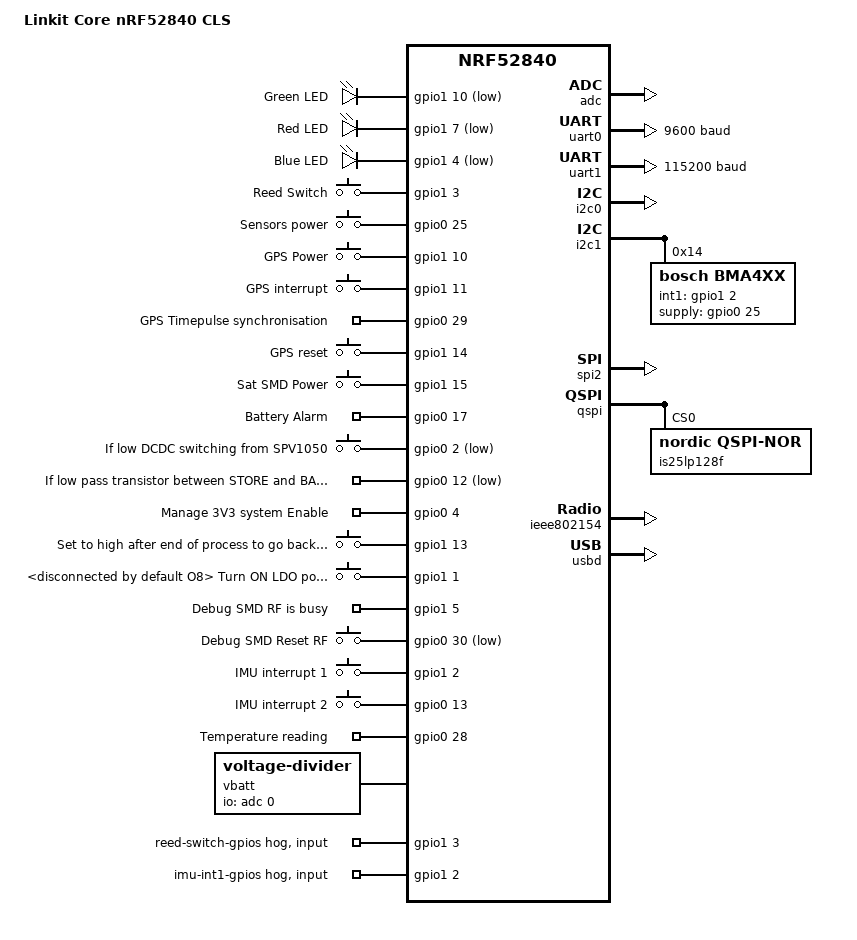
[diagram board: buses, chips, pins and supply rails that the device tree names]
/*
 * Copyright (c) 2020 Tobias Svehagen
 *
 * SPDX-License-Identifier: Apache-2.0
 */

/dts-v1/;
#include <nordic/nrf52840_qiaa.dtsi>
#include "rspb_smd_nrf52840-pinctrl.dtsi"
#include <zephyr/dt-bindings/input/input-event-codes.h>
/ {
    model = "Linkit Core nRF52840 CLS";
    compatible = "arribada,linkit-core-nrf52840";

    chosen {
        zephyr,console = &uart1;
        zephyr,shell-uart = &uart1;
        //zephyr,uart-mcumgr = &uart1;
        //zephyr,bt-mon-uart = &uart1;
        //zephyr,bt-c2h-uart = &uart1;
        zephyr,sram = &sram0;
        zephyr,flash = &flash0;
        zephyr,code-partition = &slot0_partition;
        zephyr,ieee802154 = &ieee802154;
    };

    leds {
        compatible = "gpio-leds";
        led0: led_0 {
            gpios = <&gpio1 10 GPIO_ACTIVE_LOW>;
            label = "Green LED";
        };
        led1: led_1 {
            gpios = <&gpio1 7 GPIO_ACTIVE_LOW>;
            label = "Red LED";
        };
        led2: led_2 {
            gpios = <&gpio1 4 GPIO_ACTIVE_LOW>;
            label = "Blue LED";
        };
    };
    
    gpio_keys {
        compatible = "gpio-keys";
        reed_switch: reed_switch {
            gpios = <&gpio1 3 (GPIO_ACTIVE_HIGH)>;
            label = "Reed Switch";
        };
        sensors_pwr: sensors_pwr {
            gpios = <&gpio0 25 (GPIO_ACTIVE_HIGH)>;
            label = "Sensors power";
        };
        gps_pwr: gps_pwr {
            gpios = <&gpio1 10 (GPIO_ACTIVE_HIGH)>;
            label = "GPS Power";
        };
        gps_int: gps_int {
            gpios = <&gpio1 11 (GPIO_ACTIVE_HIGH)>;
            label = "GPS interrupt";
        };
        gps_timepulse: gps_timepulse {
            gpios = <&gpio0 29 (GPIO_ACTIVE_HIGH)>;
            label = "GPS Timepulse synchronisation";
        };
        gps_rst: gps_rst {
            gpios = <&gpio1 14 (GPIO_ACTIVE_HIGH)>;
            label = "GPS reset";
        };
        smd_pwr: smd_pwr {
            gpios = <&gpio1 15 (GPIO_ACTIVE_HIGH)>;
            label = "Sat SMD Power";
        };
        bat_alarm: bat_alarm {
            gpios = <&gpio0 17 (GPIO_ACTIVE_HIGH)>;
            label = "Battery Alarm";
        };
        bat_chg: bat_chg {
            gpios = <&gpio0 2 (GPIO_ACTIVE_LOW)>;
            label = "If low DCDC switching from SPV1050";
        };
        bat_ok: bat_ok {
            gpios = <&gpio0 12 (GPIO_ACTIVE_LOW)>;
            label = "If low pass transistor between STORE and BATT pins is closed";
        };
        main_pwr: main_pwr {
            gpios = <&gpio0 4 (GPIO_ACTIVE_HIGH)>;
            label = "Manage 3V3 system Enable";
        };
        mcu_done: mcu_done {
            gpios = <&gpio1 13 (GPIO_ACTIVE_HIGH)>;
            label = "Set to high after end of process to go back to sleep";
        };
        vpa_en: vpa_en {
            gpios = <&gpio1 1 (GPIO_ACTIVE_HIGH)>;
            label = "<disconnected by default O8> Turn ON LDO power amplifier";
        };
        smd_rf_busy: smd_rf_busy {
            gpios = <&gpio1 5 (GPIO_ACTIVE_HIGH)>;
            label = "Debug SMD RF is busy";
        };
        smd_rf_nrst: smd_rf_nrst {
            gpios = <&gpio0 30 (GPIO_ACTIVE_LOW)>;
            label = "Debug SMD Reset RF";
        };
        imu_int1: imu_int1 {
            gpios = <&gpio1 2 (GPIO_ACTIVE_HIGH)>;
            label = "IMU interrupt 1";
        };
        imu_int2: imu_int2 {
            gpios = <&gpio0 13 (GPIO_ACTIVE_HIGH)>;
            label = "IMU interrupt 2";
        };
        temp_r: temp_r {
            gpios = <&gpio0 28 (GPIO_ACTIVE_HIGH)>;
            label = "Temperature reading";
        };
    };

	vbatt {
		compatible = "voltage-divider";
		io-channels = <&adc 0>;
		output-ohms = <100000>;
		full-ohms = <(100000 + 100000)>;
	};

    aliases {
        ledg = &led0;
        ledr = &led1;
        ledb = &led2;
        watchdog0 = &wdt0;
        spi-flash0 = &is25lp128f;
        accel0 = &bma4xx;
        smd-spi = &spi2;
        ext-i2c = &i2c0;
        in-i2c = &i2c1;
        uart-gnss = &uart0;
        uart-log = &uart1;
        reed-switch = &reed_switch;
        sensors-pwr = &sensors_pwr;
        gps-pwr = &gps_pwr;
        smd-pwr = &smd_pwr;
        gps-int = &gps_int;
        gps-timepulse = &gps_timepulse;
        gps-rst = &gps_rst;
        bat-alarm = &bat_alarm;
        bat-chg = &bat_chg;
        bat-ok = &bat_ok;
        main-pwr = &main_pwr;
        mcu-done = &mcu_done;
        vpa-en = &vpa_en;
        smd-rf-busy = &smd_rf_busy;
        smd-rf-nrst = &smd_rf_nrst;
        temp-r = &temp_r;
        imu-int1 = &imu_int1;
        imu-int2 = &imu_int2;
    };
};

&adc {
    status = "okay";
};

&gpiote {
    status = "okay";
};

&gpio0 {
    status = "okay";
};

&gpio1 {
    status = "okay";
    interrupts = <1 NRF_DEFAULT_IRQ_PRIORITY>;
    reed-switch-gpios {
        gpio-hog;
        gpios = <3 GPIO_ACTIVE_HIGH>;
        input;
    };
    interrupts = <2 NRF_DEFAULT_IRQ_PRIORITY>;
    imu-int1-gpios {
        gpio-hog;
        gpios = <2 GPIO_ACTIVE_HIGH>;
        input;
    };
};

&uart0 {
	compatible = "nordic,nrf-uart";
    status = "okay";
    current-speed = <9600>;
    pinctrl-0 = <&uart0_default>;
    pinctrl-1 = <&uart0_sleep>;
    pinctrl-names = "default", "sleep";
    // argossmd{
	// 	compatible = "arribada,argossmd";
	// 	status="okay";
	// 	label="argossmd_device";
	// 	wakeup-gpios=<&gpio0 26 (GPIO_ACTIVE_HIGH | GPIO_PULL_DOWN)>; 
	// };
};

&uart1 {
    //Currently used as debug but should used NRF_DBG P0.11 instead and leave uart1 one for SMD communication
	//compatible = "nordic,nrf-uart";
    status = "okay";
    current-speed = <115200>;
    pinctrl-0 = <&uart1_default>;
    pinctrl-1 = <&uart1_sleep>;
    pinctrl-names = "default", "sleep";
};

&i2c0 {
	compatible = "nordic,nrf-twi";
    status = "okay";
    //clock-frequency = <I2C_BITRATE_FAST>;
    pinctrl-0 = <&i2c0_default>;
    pinctrl-1 = <&i2c0_sleep>;
    pinctrl-names = "default", "sleep";
};

&i2c1 {
	compatible = "nordic,nrf-twi";
    status = "okay";
    //clock-frequency = <I2C_BITRATE_FAST>;
    pinctrl-0 = <&i2c1_default>;
    pinctrl-1 = <&i2c1_sleep>;
    pinctrl-names = "default", "sleep";
    bma4xx: bma4xx@14 {
        status = "okay";
        compatible = "bosch,bma4xx";
        reg = <0x14>;
        int1-gpios = <&gpio1 2 (GPIO_ACTIVE_HIGH)>;
        supply-gpios = <&gpio0 25 (GPIO_ACTIVE_HIGH)>;
        friendly-name = "BMA400";
    };
};

&spi2 {
    compatible = "nordic,nrf-spi";
    status = "okay";
    pinctrl-0 = <&spi2_default>;
    pinctrl-1 = <&spi2_sleep>;
    pinctrl-names = "default", "sleep";
    // smd_device: smd_device@0 {
    //   compatible = "arribada,argossmd";  // Device-specific compatible string
    //   reg = <0>;
    //   cs-gpios = <&gpio0 5 GPIO_ACTIVE_LOW>;
    //   spi-max-frequency = <1000000>;   
    // };
};

&qspi {
    status = "okay";
    pinctrl-0 = <&qspi_default>;
    pinctrl-1 = <&qspi_sleep>;
    pinctrl-names = "default", "sleep";

    is25lp128f: is25lp128f@0 {
		compatible = "nordic,qspi-nor";
        reg = <0>;
        writeoc = "pp4o";
        readoc = "read4io";
        sck-frequency = <32000000>;
        // sfdp-bfp = [
        // e5 20 f1 ff  ff ff ff 03  44 eb 08 6b  08 3b 04 bb
        // ee ff ff ff  ff ff 00 ff  ff ff 00 ff  0c 20 0f 52
        // 10 d8 00 ff  23 72 f5 00  82 ed 04 cc  44 83 68 44
        // 30 b0 30 b0  f7 c4 d5 5c  00 be 29 ff  f0 d0 ff ff
        // ];
        quad-enable-requirements = "S1B6";
        jedec-id = [9d 60 18];
        size = <134217728>;
        has-dpd;
        t-enter-dpd = <3000>;
        t-exit-dpd = <5000>;
    };
};
&flash0 {
    partitions {
        compatible = "fixed-partitions";
        #address-cells = <1>;
        #size-cells = <1>;

        boot_partition: partition@0 {
            label = "mcuboot";
            reg = <0x00000000 0x0000C000>;
        };
        slot0_partition: partition@c000 {
            label = "image-0";
            reg = <0x0000C000 0x00067000>;
        };
        slot1_partition: partition@73000 {
            label = "image-1";
            reg = <0x00073000 0x00067000>;
        };
        scratch_partition: partition@da000 {
            label = "image-scratch";
            reg = <0x000da000 0x0001e000>;
        };
        storage_partition: partition@f8000 {
            label = "storage";
            reg = <0x000f8000 0x00008000>;
        };
    };
};
/* /delete-node/ &storage_partition;
&is25lp128f {
    partitions {
        compatible = "fixed-partitions";
        #address-cells = <1>;
        #size-cells = <1>;partition@40000 {
            label = "storage";
            reg = <0x00040000 0x00020000>;
        };
    };
};

 */

&ieee802154 {
    status = "okay";
};

zephyr_udc0: &usbd {
    compatible = "nordic,nrf-usbd";
    status = "okay";
};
